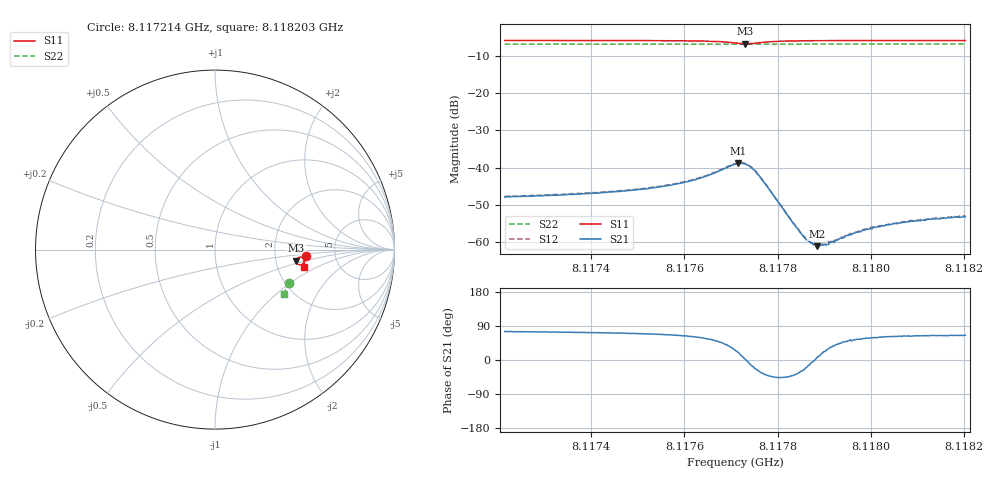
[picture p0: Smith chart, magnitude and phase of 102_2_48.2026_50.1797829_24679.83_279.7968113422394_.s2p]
#  HZ  S  RI  R  50.00
! Rohde & Schwarz Vector Network Analyzer
! Rohde-Schwarz,ZNB20-2Port,1311601062101988,3.16
! Created: UTC 3/20/2024, 11:40:38 AM
! freq[Hz]  re:S11  im:S11  re:S21  im:S21  re:S12  im:S12  re:S22  im:S22
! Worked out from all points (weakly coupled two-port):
!   401 points, 8.117214 GHz to 8.118203 GHz, reference 50 ohm
!   highest |S21| = -38.79 dB at 8.117716 GHz (marker M1); lowest = -61.0 dB at 8.117884 GHz (marker M2)
!   lowest |S11| = -6.8 dB at 8.117731 GHz (marker M3), VSWR 2.68, Z = 130 - j20.6 ohm
!   |S11| at or under -10 dB: nowhere
!   |S22| runs from -6.9 to -6.9 dB; largest |S21 - S12| = 0.00045
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8.1172139e9  0.5047 -0.0338  0.00104 0.00392  0.0011 0.00402  0.4122 -0.1836
8.1173796e9  0.5029 -0.048  0.00132 0.00427  0.00138 0.00434  0.4077 -0.1944
8.1174711e9  0.5013 -0.0565  0.00161 0.00461  0.0017 0.00469  0.4053 -0.2002
8.1175453e9  0.4991 -0.0646  0.00209 0.00511  0.00219 0.00518  0.4029 -0.2051
8.1176269e9  0.4929 -0.0763  0.0035 0.00613  0.00362 0.00622  0.4002 -0.2104
8.1176591e9  0.4862 -0.082  0.00489 0.00663  0.00509 0.00671  0.3989 -0.2126
8.1177086e9  0.4614 -0.0812  0.0101 0.00489  0.0101 0.00502  0.3963 -0.2152
8.117716e9  0.4567 -0.0765  0.0108 0.00381  0.0111 0.00362  0.396 -0.2154
8.1177308e9  0.4523 -0.0626  0.0112 0.000319  0.0114 0.000191  0.3954 -0.2155
8.1177432e9  0.4567 -0.0504  0.00974 -0.00238  0.01 -0.00257  0.3954 -0.2159
8.1177555e9  0.4658 -0.0435  0.00751 -0.00367  0.00775 -0.00377  0.3957 -0.2163
8.117852e9  0.4968 -0.0601  0.00113 -0.000613  0.00116 -0.000669  0.3939 -0.2232
8.1178619e9  0.4974 -0.0619  0.00101 -0.000368  0.00105 -0.000395  0.3937 -0.2239
8.1178743e9  0.4978 -0.064  0.00098 -9.71e-05  0.000984 -0.000111  0.3931 -0.2248
8.1178842e9  0.498 -0.0655  0.000888 8.02e-05  0.000919 9.34e-05  0.393 -0.2253
8.1178965e9  0.4983 -0.0674  0.000872 0.00029  0.00091 0.000275  0.3926 -0.2261
8.1179064e9  0.4984 -0.0688  0.000828 0.000443  0.000891 0.000455  0.3922 -0.2268
8.1179658e9  0.4984 -0.0759  0.000792 0.00108  0.000821 0.00109  0.3903 -0.2305
8.1180004e9  0.4981 -0.0795  0.000795 0.0013  0.000865 0.00134  0.3891 -0.2328
8.11804e9  0.4977 -0.0835  0.000817 0.00152  0.000837 0.00154  0.3877 -0.2352
8.1181265e9  0.4966 -0.0912  0.000878 0.00184  0.00093 0.00185  0.3849 -0.2406
8.1182032e9  0.4954 -0.0976  0.000922 0.002  0.000992 0.00206  0.3821 -0.2452
